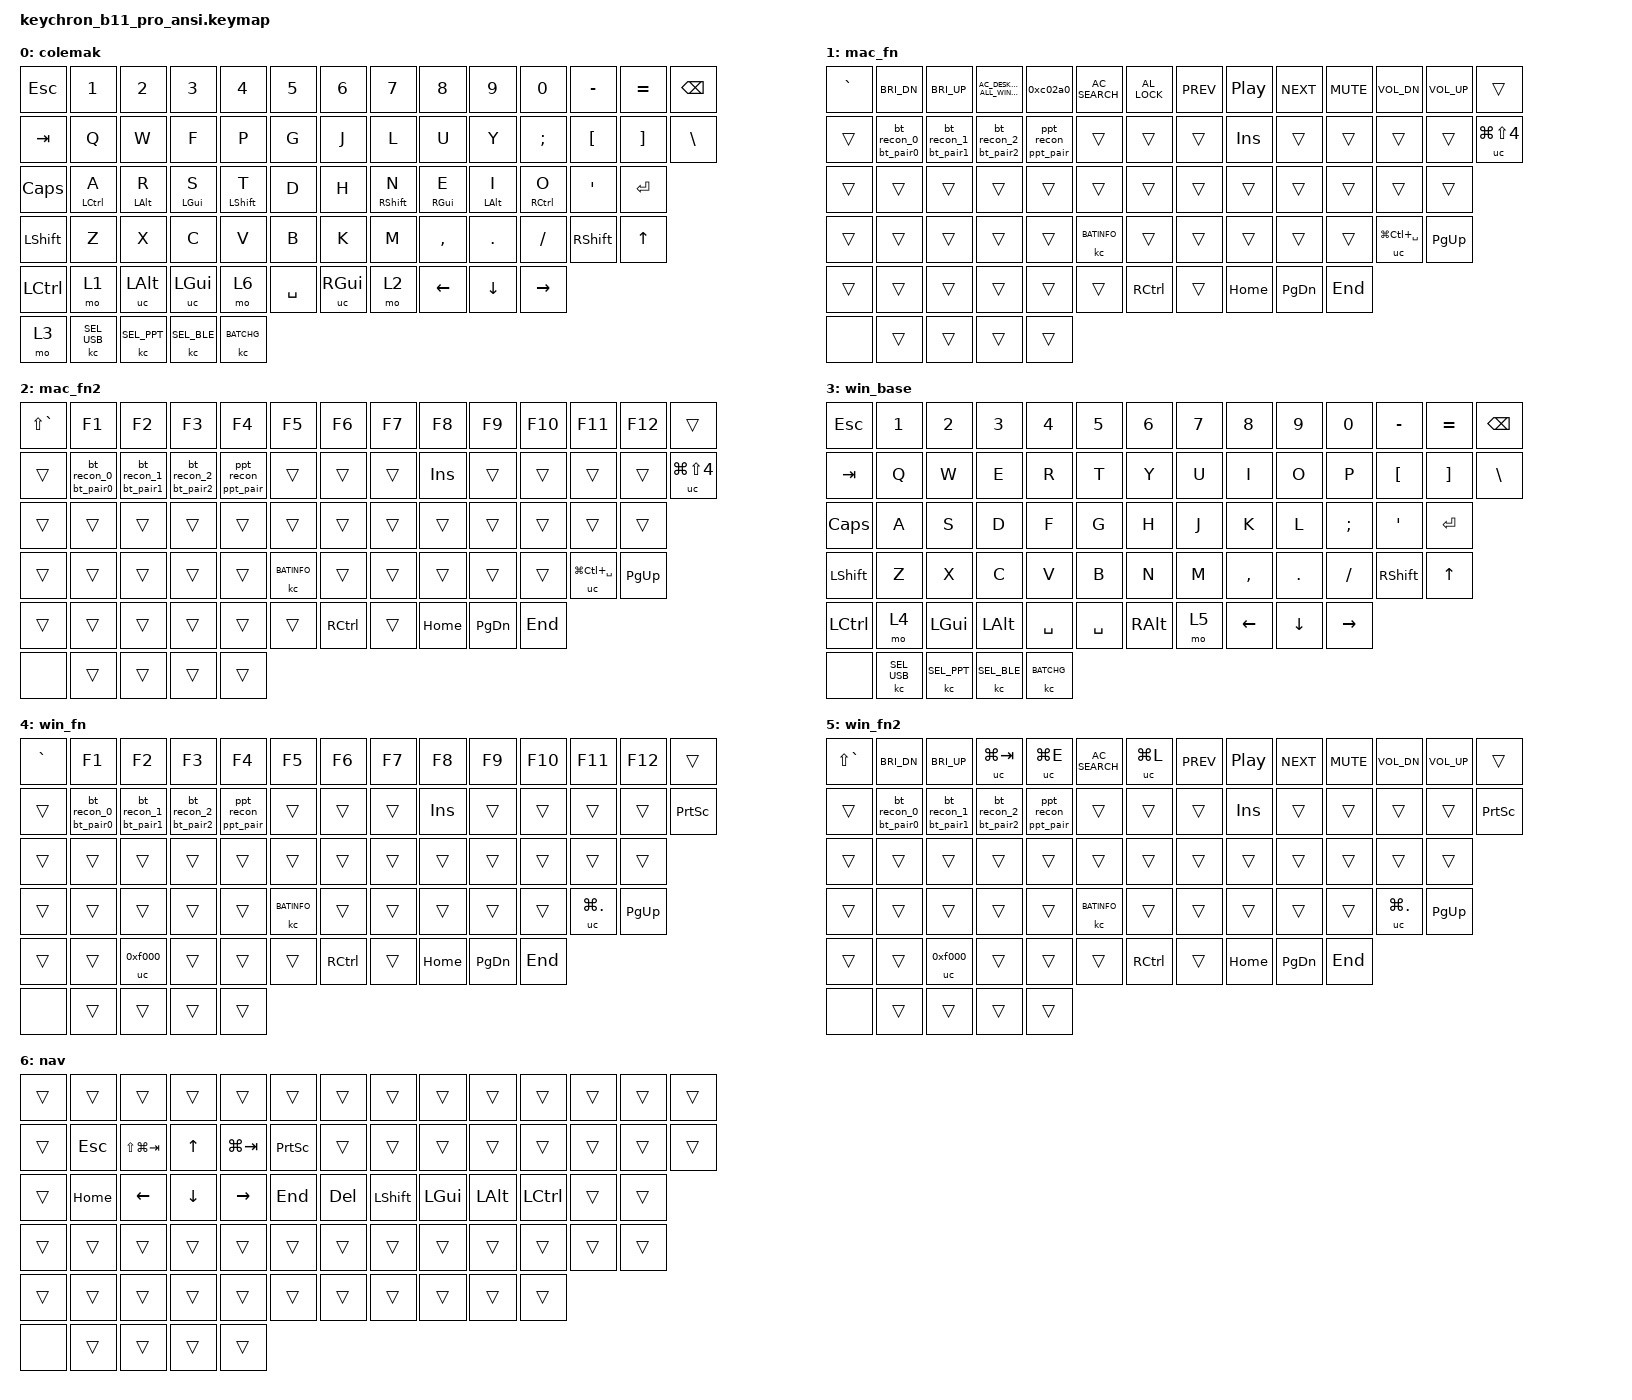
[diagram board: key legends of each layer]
/*
 * Copyright (c) 2023 The ZMK Contributors
 *
 * SPDX-License-Identifier: MIT
 */

/*
 * Keychron B11 Pro ANSI, Jarren's keymap. Built from the shield's stock keymap; the only layer changed is
 * layer 0 (Mac base, the Mac side of the Mac/Win switch), which becomes Colemak with home-row mods
 * (timings from the Corne), with the left spacebar holding layer 6 (NAV, the Corne's navigation layer).
 * The Win side (layer 3) and all fn layers are stock, so the Win side is a plain QWERTY board.
 *
 * Firmware Colemak: the host must use a plain US layout (on Android: physical keyboard -> English (US)).
 *
 * Ghosting: the matrix has no diodes and all 8 home-row keys share matrix row 2. Two held home-row mods
 * plus a key in either mod's column ghost and the filter drops both. Use the real bottom-row mods for
 * two-mod chords.
 *
 * Stock notes follow.
 *
 * Position order is the shield's reading order (see the overlay): 14 + 14 + 13 + 13 + 11 keys, then five
 * direct inputs in the last row: position 65 is the Mac/Win switch, 66-69 are the mode slider
 * (USB, 2.4G, BT) and the charge sense. Those five are inputs, not keys; their bindings are what the
 * stock firmware has.
 *
 * Two raw values: `&kp 0xc02a0` is the Mac Launchpad usage (AC Desktop Show All Applications; this tree names
 * 0x2a2 instead), and `&uc 0xf000` is a Keychron user key under fn+Win on the Windows layers (believed to be
 * the Win-key lock; not decoded further).
 */

#include <behaviors.dtsi>
#include <dt-bindings/zmk/bt.h>
#include <dt-bindings/zmk/keys.h>
#include <dt-bindings/zmk/rgb.h>
#include <dt-bindings/zmk/outputs.h>
#include <dt-bindings/zmk/keychron.h>

/ {
    /* The three behaviors below exist so the Keychron Launcher's keycode mapping can find them. */
    macro1:zm_ma{
        compatible = "zmk,behavior-macro-one-param";
        #binding-cells = <1>;
        bindings=<&kp 0x770000>;
    };
    lm: layer_mod {
        compatible = "zmk,behavior-macro-two-param";
        wait-ms = <0>;
        tap-ms = <0>;
        #binding-cells = <2>;
        bindings
            = <&macro_param_1to1>
            , <&macro_press &mo 0>
            , <&macro_param_2to1>
            , <&macro_press &kp 0>
            , <&macro_pause_for_release>
            , <&macro_param_2to1>
            , <&macro_release &kp 0>
            , <&macro_param_1to1>
            , <&macro_release &mo 0>
            ;
    };
    td1:tapd_layer{
        compatible = "zmk,behavior-tap-dance1";
        #binding-cells = <1>;
        tapping-term-ms = <350>;
        bindings =<&mo 0>,<&mo 0>,<&mo 0>,<&mo 0>,<&to 0>;
    };

    /* tap = send the Keychron command, hold 3 s = nothing (used by the fn combos below) */
    kc_lp:l1{
        compatible = "zmk,behavior-hold-tap";
        #binding-cells = <2>;
        flavor = "tap-preferred";
        tapping-term-ms = <3000>;  // delay amount in ms
        bindings = <&kc>,<&none>;
    };

    /* BT slots and 2.4G: hold 3 s = pair, tap = reconnect */
    ZMK_MACRO(bt_pair0, bindings = <&kc BT_PAIR 0>;)
    ZMK_MACRO(bt_pair1, bindings = <&kc BT_PAIR 1>;)
    ZMK_MACRO(bt_pair2, bindings = <&kc BT_PAIR 2>;)
    ZMK_MACRO(ppt_pair, bindings = <&kc PPT_PAIR 0>;)
    ZMK_MACRO(bt_recon_0, bindings = <&kc BT_SEL 0>;)
    ZMK_MACRO(bt_recon_1, bindings = <&kc BT_SEL 1>;)
    ZMK_MACRO(bt_recon_2, bindings = <&kc BT_SEL 2>;)
    ZMK_MACRO(ppt_recon, bindings = <&kc PPT_SEL 0>;)

    bt_pair_0: bt_pair_0 {
        compatible = "zmk,behavior-hold-tap";
        #binding-cells = <2>;
        flavor = "tap-preferred";
        tapping-term-ms = <3000>;  // delay amount in ms
        bindings = <&bt_pair0>, <&bt_recon_0>;
    };
    bt_pair_1: bt_pair_1 {
        compatible = "zmk,behavior-hold-tap";
        #binding-cells = <2>;
        flavor = "tap-preferred";
        tapping-term-ms = <3000>;  // delay amount in ms
        bindings = <&bt_pair1>, <&bt_recon_1>;
    };
    bt_pair_2: bt_pair_2 {
        compatible = "zmk,behavior-hold-tap";
        #binding-cells = <2>;
        flavor = "tap-preferred";
        tapping-term-ms = <3000>;  // delay amount in ms
        bindings = <&bt_pair2>, <&bt_recon_2>;
    };
    ppt_pair_0: ppt_pair_0 {
        compatible = "zmk,behavior-hold-tap";
        #binding-cells = <2>;
        flavor = "tap-preferred";
        tapping-term-ms = <3000>;  // delay amount in ms
        bindings = <&ppt_pair>, <&ppt_recon>;
    };

    /* a plain key press that the Launcher shows as a Mac/Win-aware key (Opt/Cmd, Alt/Win) */
    uc:user_custom {
        compatible = "zmk,behavior-key-press";
        #binding-cells =<1>;
    };

    /* Home-row mods, same timings as the Corne: pinky Ctrl, ring Alt, middle Super, index Shift. */
    hm_o: homerow_mod_outer {
        compatible = "zmk,behavior-hold-tap";
        #binding-cells = <2>;
        tapping-term-ms = <230>;
        quick-tap-ms = <0>;
        flavor = "tap-preferred";
        bindings = <&kp>, <&kp>;
    };
    hm_r: homerow_mod_ring {
        compatible = "zmk,behavior-hold-tap";
        #binding-cells = <2>;
        tapping-term-ms = <220>;
        quick-tap-ms = <0>;
        flavor = "tap-preferred";
        bindings = <&kp>, <&kp>;
    };
    hm_m: homerow_mod_middle {
        compatible = "zmk,behavior-hold-tap";
        #binding-cells = <2>;
        tapping-term-ms = <180>;
        quick-tap-ms = <0>;
        flavor = "tap-preferred";
        bindings = <&kp>, <&kp>;
    };
    hm_i: homerow_mod_index {
        compatible = "zmk,behavior-hold-tap";
        #binding-cells = <2>;
        tapping-term-ms = <170>;
        quick-tap-ms = <0>;
        flavor = "tap-preferred";
        bindings = <&kp>, <&kp>;
    };

    combos {
        compatible = "zmk,combos";

        /* Keychron system combos, active while fn (layer 1 on Mac, 4 on Windows) is held. */
        combo_jz {
            timeout-ms = <1000>;
            layers = <1 4>;
            key-positions = <35 42>; // fn+j+z : recover (factory reset)
            bindings = <&kc_lp RCV>;
        };
        combo_xl {
            timeout-ms = <1000>;
            layers = <1 4>;
            key-positions = <43 37>; // fn+x+l : F-row exchange
            bindings = <&kc_lp FN_EXG 0>;
        };
        combo_b {
            timeout-ms = <1000>;
            layers = <1 4>;
            key-positions = <46>; // fn+b : battery level
            bindings = <&kc BATINFO>;
        };

        /* Registration combos: they reference behaviors (to, tog, sl, lt, sk, mt, gresc) so the Launcher's
         * keycode mapping finds them. Position 120 never exists. */
        combo_t0 {
            timeout-ms = <10 >;
            layers =<4>;
            key-positions = <120>;
            bindings = <&to 3 >;
        };
        combo_t1 {
            timeout-ms = <10 >;
            layers =<4>;
            key-positions = <120>;
            bindings = <&tog 3 >;
        };
        combo_t2 {
            timeout-ms = <10 >;
            layers =<4>;
            key-positions = <120>;
            bindings = <&sl 3 >;
        };
        combo_t3 {
            timeout-ms = <10 >;
            layers =<4>;
            key-positions = <120>;
            bindings = <&lt 3 SPACE>;
        };
        combo_t4 {
            timeout-ms = <10 >;
            layers =<4>;
            key-positions = <120>;
            bindings = <&sk LSHIFT>;
        };
        combo_t5 {
            timeout-ms = <10 >;
            layers =<4>;
            key-positions = <120>;
            bindings = <&mt LSHIFT SPACE>;
        };
        combo_t6 {
            timeout-ms = <10 >;
            layers =<4>;
            key-positions = <120>;
            bindings = <&gresc>;
        };
    };

    keymap {
        compatible = "zmk,keymap";
        /* 0: Mac base (the Mac/Win switch, A26, holds layer 3 for Windows) */
        /* Colemak with home-row mods; left spacebar = hold NAV (layer 6) */
        mac_base_layer {
            label = "colemak";
            bindings = <
            &kp ESC    &kp N1         &kp N2        &kp N3        &kp N4         &kp N5     &kp N6     &kp N7         &kp N8        &kp N9        &kp N0          &kp MINUS  &kp EQUAL  &kp BSPC
            &kp TAB    &kp Q          &kp W         &kp F         &kp P          &kp G      &kp J      &kp L          &kp U         &kp Y         &kp SEMI        &kp LBKT   &kp RBKT   &kp BSLH
            &kp CAPS   &hm_o LCTRL A  &hm_r LALT R  &hm_m LGUI S  &hm_i LSHFT T  &kp D      &kp H      &hm_i RSHFT N  &hm_m RGUI E  &hm_r LALT I  &hm_o RCTRL O   &kp SQT    &kp RET
            &kp LSHFT  &kp Z          &kp X         &kp C         &kp V          &kp B      &kp K      &kp M          &kp COMMA     &kp DOT       &kp FSLH        &kp RSHFT  &kp UP
            &kp LCTRL  &mo 1          &uc LALT      &uc LGUI      &mo 6          &kp SPACE  &uc RGUI   &mo 2          &kp LEFT      &kp DOWN      &kp RIGHT
            &mo 3      &kc SEL_USB  &kc SEL_PPT  &kc SEL_BLE  &kc BATCHG
            >;
        };

        /* 1: Mac fn, left of space: media and system keys, BT / 2.4G pairing on the Q row */
        mac_fn_layer {
            label = "mac_fn";
            bindings = <
            &kp GRAVE  &kp C_BRI_DN    &kp C_BRI_UP    &kp C_AC_DESKTOP_SHOW_ALL_WINDOWS  &kp 0xc02a0      &kp C_AC_SEARCH  &kp C_AL_LOCK  &kp C_PREV  &kp C_PP  &kp C_NEXT  &kp C_MUTE  &kp C_VOL_DN       &kp C_VOL_UP  &trans
            &trans     &bt_pair_0 0 0  &bt_pair_1 0 0  &bt_pair_2 0 0                     &ppt_pair_0 0 0  &trans           &trans         &trans      &kp INS   &trans      &trans      &trans             &trans        &uc LG(LS(N4))
            &trans     &trans          &trans          &trans                             &trans           &trans           &trans         &trans      &trans    &trans      &trans      &trans             &trans
            &trans     &trans          &trans          &trans                             &trans           &kc BATINFO      &trans         &trans      &trans    &trans      &trans      &uc LG(LC(SPACE))  &kp PG_UP
            &trans     &trans          &trans          &trans                             &trans           &trans           &kp RCTRL      &trans      &kp HOME  &kp PG_DN   &kp END
            &none      &trans          &trans          &trans                             &trans
            >;
        };

        /* 2: Mac fn2, right of space: F1-F12 on the number row */
        mac_fn2_layer {
            label = "mac_fn2";
            bindings = <
            &kp LS(GRAVE)  &kp F1          &kp F2          &kp F3          &kp F4           &kp F5       &kp F6     &kp F7  &kp F8    &kp F9     &kp F10  &kp F11            &kp F12    &trans
            &trans         &bt_pair_0 0 0  &bt_pair_1 0 0  &bt_pair_2 0 0  &ppt_pair_0 0 0  &trans       &trans     &trans  &kp INS   &trans     &trans   &trans             &trans     &uc LG(LS(N4))
            &trans         &trans          &trans          &trans          &trans           &trans       &trans     &trans  &trans    &trans     &trans   &trans             &trans
            &trans         &trans          &trans          &trans          &trans           &kc BATINFO  &trans     &trans  &trans    &trans     &trans   &uc LG(LC(SPACE))  &kp PG_UP
            &trans         &trans          &trans          &trans          &trans           &trans       &kp RCTRL  &trans  &kp HOME  &kp PG_DN  &kp END
            &none          &trans          &trans          &trans          &trans
            >;
        };

        /* 3: Windows base, held by the Mac/Win switch: Win and Alt swapped to PC order */
        win_base_layer {
            label = "win_base";
            bindings = <
            &kp ESC    &kp N1       &kp N2       &kp N3       &kp N4      &kp N5     &kp N6    &kp N7  &kp N8     &kp N9    &kp N0     &kp MINUS  &kp EQUAL  &kp BSPC
            &kp TAB    &kp Q        &kp W        &kp E        &kp R       &kp T      &kp Y     &kp U   &kp I      &kp O     &kp P      &kp LBKT   &kp RBKT   &kp BSLH
            &kp CAPS   &kp A        &kp S        &kp D        &kp F       &kp G      &kp H     &kp J   &kp K      &kp L     &kp SEMI   &kp SQT    &kp RET
            &kp LSHFT  &kp Z        &kp X        &kp C        &kp V       &kp B      &kp N     &kp M   &kp COMMA  &kp DOT   &kp FSLH   &kp RSHFT  &kp UP
            &kp LCTRL  &mo 4        &kp LGUI     &kp LALT     &kp SPACE   &kp SPACE  &kp RALT  &mo 5   &kp LEFT   &kp DOWN  &kp RIGHT
            &none      &kc SEL_USB  &kc SEL_PPT  &kc SEL_BLE  &kc BATCHG
            >;
        };

        /* 4: Windows fn, left of space: F1-F12 on the number row */
        win_fn_layer {
            label = "win_fn";
            bindings = <
            &kp GRAVE  &kp F1          &kp F2          &kp F3          &kp F4           &kp F5       &kp F6     &kp F7  &kp F8    &kp F9     &kp F10  &kp F11      &kp F12    &trans
            &trans     &bt_pair_0 0 0  &bt_pair_1 0 0  &bt_pair_2 0 0  &ppt_pair_0 0 0  &trans       &trans     &trans  &kp INS   &trans     &trans   &trans       &trans     &kp PSCRN
            &trans     &trans          &trans          &trans          &trans           &trans       &trans     &trans  &trans    &trans     &trans   &trans       &trans
            &trans     &trans          &trans          &trans          &trans           &kc BATINFO  &trans     &trans  &trans    &trans     &trans   &uc LG(DOT)  &kp PG_UP
            &trans     &trans          &uc 0xf000      &trans          &trans           &trans       &kp RCTRL  &trans  &kp HOME  &kp PG_DN  &kp END
            &none      &trans          &trans          &trans          &trans
            >;
        };

        /* 5: Windows fn2, right of space: media and system keys */
        win_fn2_layer {
            label = "win_fn2";
            bindings = <
            &kp LS(GRAVE)  &kp C_BRI_DN    &kp C_BRI_UP    &uc LG(TAB)     &uc LG(E)        &kp C_AC_SEARCH  &uc LG(L)  &kp C_PREV  &kp C_PP  &kp C_NEXT  &kp C_MUTE  &kp C_VOL_DN  &kp C_VOL_UP  &trans
            &trans         &bt_pair_0 0 0  &bt_pair_1 0 0  &bt_pair_2 0 0  &ppt_pair_0 0 0  &trans           &trans     &trans      &kp INS   &trans      &trans      &trans        &trans        &kp PSCRN
            &trans         &trans          &trans          &trans          &trans           &trans           &trans     &trans      &trans    &trans      &trans      &trans        &trans
            &trans         &trans          &trans          &trans          &trans           &kc BATINFO      &trans     &trans      &trans    &trans      &trans      &uc LG(DOT)   &kp PG_UP
            &trans         &trans          &uc 0xf000      &trans          &trans           &trans           &kp RCTRL  &trans      &kp HOME  &kp PG_DN   &kp END
            &none          &trans          &trans          &trans          &trans
            >;
        };

        /* 6: NAV, held by the left spacebar on the Colemak side. The Corne's NAVIGATION layer: Esc,
         * Super+Shift+Tab, Up, Super+Tab, PrtSc on q w f p g; Home, arrows, End on a r s t d; Delete on h;
         * plain Shift, Super, Alt, Ctrl on n e i o for Shift/Ctrl+arrow selection. Checked against the
         * diode-less matrix: holding the spacebar, mods and an arrow never forms a ghost rectangle. */
        nav_layer {
            label = "nav";
            bindings = <
            &trans  &trans    &trans           &trans    &trans       &trans     &trans   &trans     &trans    &trans    &trans     &trans  &trans  &trans
            &trans  &kp ESC   &kp LS(LG(TAB))  &kp UP    &kp LG(TAB)  &kp PSCRN  &trans   &trans     &trans    &trans    &trans     &trans  &trans  &trans
            &trans  &kp HOME  &kp LEFT         &kp DOWN  &kp RIGHT    &kp END    &kp DEL  &kp LSHFT  &kp LGUI  &kp LALT  &kp LCTRL  &trans  &trans
            &trans  &trans    &trans           &trans    &trans       &trans     &trans   &trans     &trans    &trans    &trans     &trans  &trans
            &trans  &trans    &trans           &trans    &trans       &trans     &trans   &trans     &trans    &trans    &trans
            &none   &trans    &trans           &trans    &trans
            >;
        };
    };
};
&mt {
    tapping-term-ms = <400>;
};
/* no encoder on the B11 Pro: the K3 SE2 &inc_dec_kp override is dropped (it pulls in the sensor-rotate code) */
